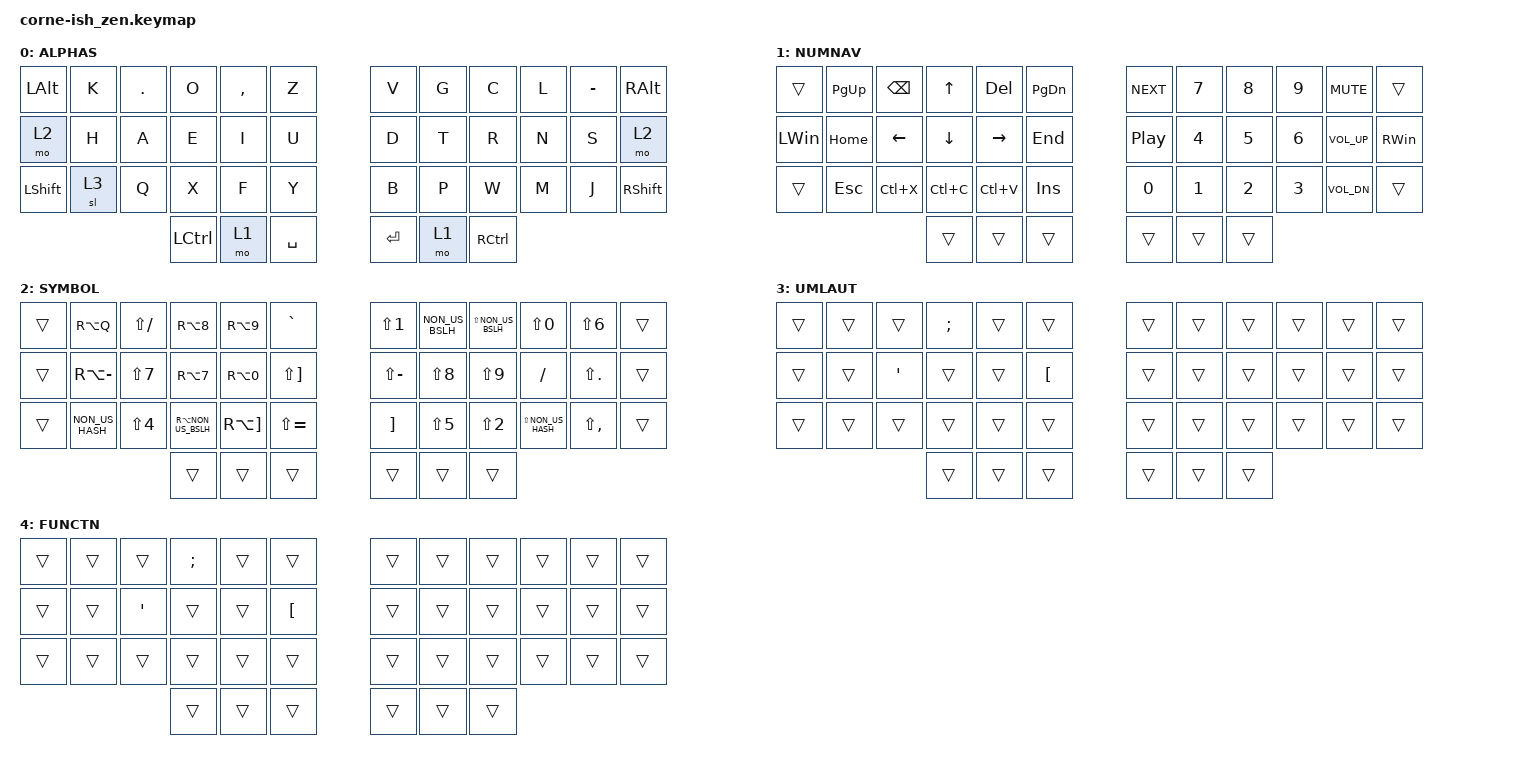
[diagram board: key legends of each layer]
/*
*
* Copyright (c) 2021 Darryl deHaan
* SPDX-License-Identifier: MIT
*
*/

#include <behaviors.dtsi>
#include <dt-bindings/zmk/keys.h>
#include <dt-bindings/zmk/bt.h>

/ {
        keymap {
                compatible = "zmk,keymap";

                default_layer {
                        label = "ALPHAS";
// -----------------------------------------------------------------------------------------
// |  ALT |  K  |  .  |  O   |  ,  |  Y  |   |  V  |  G   |  C   |  L  |  ß  | ALT  |
// |  MO2 |  H  |  A  |  E   |  I  |  U  |   |  D  |  T   |  R   |  N  |  S  | MO2  |
// | SHFT |     |  Q  |  X   |  F  |  Z  |   |  B  |  P   |  W   |  M  |  J  | SHFT |
//                    | CTRL | MO1 | SPC |   | RET | MO1  | CTRL |
                        bindings = <
   &kp LALT  &kp K  &kp DOT &kp O     &kp COMMA &kp Z        &kp V   &kp G &kp C     &kp L &kp MINUS &kp RALT
   &mo 2     &kp H  &kp A   &kp E     &kp I     &kp U        &kp D   &kp T &kp R     &kp N &kp S     &mo 2
   &kp LSHFT &sl 3  &kp Q   &kp X     &kp F     &kp Y        &kp B   &kp P &kp W     &kp M &kp J     &kp RSHFT
                            &kp LCTRL &mo 1     &kp SPACE    &kp RET &mo 1 &kp RCTRL
                        >;
                };

                numnav_layer {
                        label = "NUMNAV";
// -----------------------------------------------------------------------------------------
// |     | PGUP | BCKSPC | UP   | DLT   | PGDWN |   | NEXT |  7  |  8   |  9  | MUTE |     |
// | WIN | HOME | LFT    | DWN  | RGT   | END   |   | PLAY |  4  |  5   |  6  | VOL+ | WIN |
// |     | ESC  | CUT    | COPY | PASTE | TAB   |   | 0    |  1  |  2   |  3  | VOL- |     |
//                       |      |       |       |   |      |     |      |
                        bindings = <
   &trans   &kp PG_UP &kp BSPC  &kp UP    &kp DEL   &kp PG_DN    &kp C_NEXT       &kp N7 &kp N8 &kp N9 &kp C_MUTE   &trans
   &kp LWIN &kp HOME  &kp LEFT  &kp DOWN  &kp RIGHT &kp END      &kp C_PLAY_PAUSE &kp N4 &kp N5 &kp N6 &kp C_VOL_UP &kp RWIN
   &trans   &kp ESC   &kp LC(X) &kp LC(C) &kp LC(V) &kp INS      &kp N0           &kp N1 &kp N2 &kp N3 &kp C_VOL_DN &trans
                                &trans    &trans    &trans       &trans           &trans &trans
                        >;
                };

                symbol_layer {
                        label = "SYMBOL";
// -----------------------------------------------------------------------------------------
// |    |  @  |  _  |  [  |  ]  |  ^  |   |  !  |  <  |  >  |  =  |  &  |    |
// |    |  \  |  /  |  {  |  }  |  *  |   |  ?  |  (  |  )  |  -  |  :  |    |
// |    |  #  |  $  |  |  |  ~  |  `  |   |  +  |  %  |  "  |  '  |  ;  |    |
//                  |     |     |     |   |     |     |     |
                        bindings = <
   &trans &kp RA(Q)       &kp LS(FSLH) &kp RA(N8)          &kp RA(N9)   &kp GRAVE     &kp LS(N1)    &kp NON_US_BSLH &kp LS(NON_US_BSLH) &kp LS(N0)          &kp LS(N6)    &trans
   &trans &kp RA(MINUS)   &kp LS(N7)   &kp RA(N7)          &kp RA(N0)   &kp LS(RBKT)  &kp LS(MINUS) &kp LS(N8)      &kp LS(N9)          &kp FSLH            &kp LS(DOT)   &trans
   &trans &kp NON_US_HASH &kp LS(N4)   &kp RA(NON_US_BSLH) &kp RA(RBKT) &kp LS(EQUAL) &kp RBKT      &kp LS(N5)      &kp LS(N2)          &kp LS(NON_US_HASH) &kp LS(COMMA) &trans
                                       &trans              &trans       &trans        &trans        &trans          &trans
                        >;
                };

                umlaut_layer {
                        label = "UMLAUT";
// -----------------------------------------------------------------------------------------
// |    |     |     |  Ö  |     |     |   |    |    |    |    |    |    |
// |    |     |  Ä  |     |     |  Ü  |   |    |    |    |    |    |    |
// |    |     |     |     |     |     |   |    |    |    |    |    |    |
//                  |     |     |     |   |    |    |    |
                        bindings = <
   &trans &trans &trans      &kp SEMI    &trans &trans      &trans &trans &trans &trans &trans &trans
   &trans &trans &kp SQT     &trans      &trans &kp LBKT    &trans &trans &trans &trans &trans &trans
   &trans &trans &trans      &trans      &trans &trans      &trans &trans &trans &trans &trans &trans
                             &trans      &trans &trans      &trans &trans &trans
                        >;
                };

                function_layer {
                        label = "FUNCTN";
// -----------------------------------------------------------------------------------------
// |    |     |     |     |     |     |   |    |    |    |    |    |    |
// |    |     |     |     |     |     |   |    |    |    |    |    |    |
// |    |     |     |     |     |     |   |    |    |    |    |    |    |
//                  |     |     |     |   |    |    |    |
                        bindings = <
   &trans &trans &trans      &kp SEMI    &trans &trans      &trans &trans &trans &trans &trans &trans
   &trans &trans &kp SQT     &trans      &trans &kp LBKT    &trans &trans &trans &trans &trans &trans
   &trans &trans &trans      &trans      &trans &trans      &trans &trans &trans &trans &trans &trans
                             &trans      &trans &trans      &trans &trans &trans
                        >;
                };
        };
};
